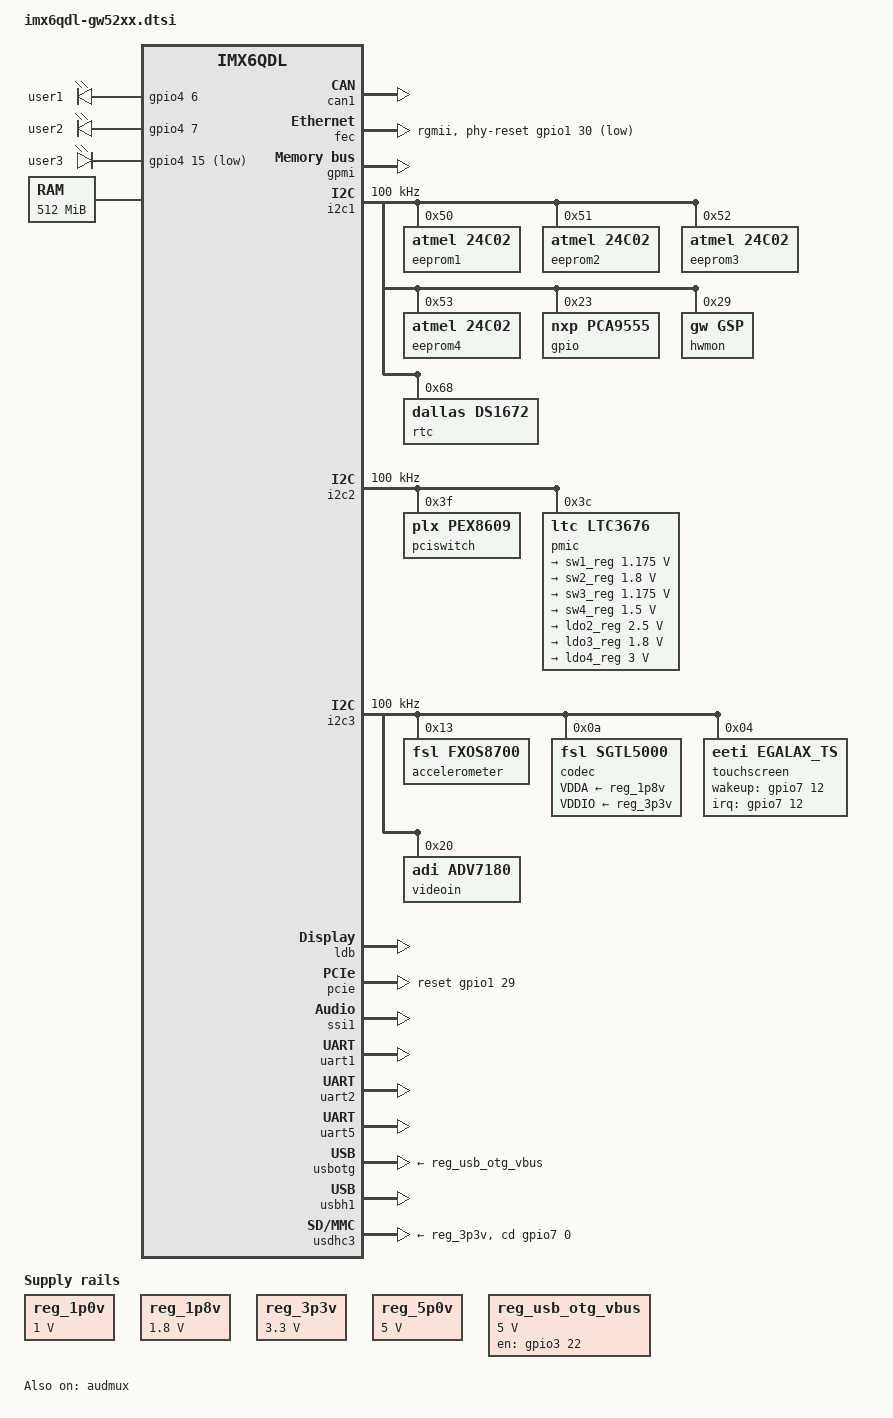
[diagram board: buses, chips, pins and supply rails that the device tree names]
/*
 * Copyright 2013 Gateworks Corporation
 *
 * The code contained herein is licensed under the GNU General Public
 * License. You may obtain a copy of the GNU General Public License
 * Version 2 or later at the following locations:
 *
 * http://www.opensource.org/licenses/gpl-license.html
 * http://www.gnu.org/copyleft/gpl.html
 */

/ {
	/* these are used by bootloader for disabling nodes */
	aliases {
		can0 = &can1;
		ethernet0 = &fec;
		i2c0 = &i2c1;
		i2c1 = &i2c2;
		i2c2 = &i2c3;
		led0 = &led0;
		led1 = &led1;
		led2 = &led2;
		nand = &gpmi;
		ssi0 = &ssi1;
		usb0 = &usbh1;
		usb1 = &usbotg;
		usdhc2 = &usdhc3;
	};

	leds {
		compatible = "gpio-leds";

		led0: user1 {
			label = "user1";
			gpios = <&gpio4 6 0>; /* 102 -> MX6_PANLEDG */
			default-state = "on";
			linux,default-trigger = "heartbeat";
		};

		led1: user2 {
			label = "user2";
			gpios = <&gpio4 7 0>; /* 103 -> MX6_PANLEDR */
			default-state = "off";
		};

		led2: user3 {
			label = "user3";
			gpios = <&gpio4 15 1>; /* 111 - MX6_LOCLED# */
			default-state = "off";
		};
	};

	memory {
		reg = <0x10000000 0x20000000>;
	};

	regulators {
		compatible = "simple-bus";

		reg_1p0v: 1p0v {
			compatible = "regulator-fixed";
			regulator-name = "1P0V";
			regulator-min-microvolt = <1000000>;
			regulator-max-microvolt = <1000000>;
			regulator-always-on;
		};

		/* remove this fixed regulator once ltc3676__sw2 driver available */
		reg_1p8v: 1p8v {
			compatible = "regulator-fixed";
			regulator-name = "1P8V";
			regulator-min-microvolt = <1800000>;
			regulator-max-microvolt = <1800000>;
			regulator-always-on;
		};

		reg_3p3v: 3p3v {
			compatible = "regulator-fixed";
			regulator-name = "3P3V";
			regulator-min-microvolt = <3300000>;
			regulator-max-microvolt = <3300000>;
			regulator-always-on;
		};

		reg_5p0v: 5p0v {
			compatible = "regulator-fixed";
			regulator-name = "5P0V";
			regulator-min-microvolt = <5000000>;
			regulator-max-microvolt = <5000000>;
			regulator-always-on;
		};

		reg_usb_otg_vbus: usb_otg_vbus {
			compatible = "regulator-fixed";
			regulator-name = "usb_otg_vbus";
			regulator-min-microvolt = <5000000>;
			regulator-max-microvolt = <5000000>;
			gpio = <&gpio3 22 0>;
			enable-active-high;
		};
	};

	sound {
		compatible = "fsl,imx6q-sabrelite-sgtl5000",
			     "fsl,imx-audio-sgtl5000";
		model = "imx6q-sabrelite-sgtl5000";
		ssi-controller = <&ssi1>;
		audio-codec = <&codec>;
		audio-routing =
			"MIC_IN", "Mic Jack",
			"Mic Jack", "Mic Bias",
			"Headphone Jack", "HP_OUT";
		mux-int-port = <1>;
		mux-ext-port = <4>;
	};
};

&audmux {
	pinctrl-names = "default";
	pinctrl-0 = <&pinctrl_audmux_1>;
	status = "okay";
};

&can1 {
	pinctrl-names = "default";
	pinctrl-0 = <&pinctrl_flexcan1_1>;
	status = "okay";
};

&fec {
	pinctrl-names = "default";
	pinctrl-0 = <&pinctrl_enet_1>;
	phy-mode = "rgmii";
	phy-reset-gpios = <&gpio1 30 0>;
	status = "okay";
};

&gpmi {
	pinctrl-names = "default";
	pinctrl-0 = <&pinctrl_gpmi_nand_2>;
	status = "okay";
};

&i2c1 {
	clock-frequency = <100000>;
	pinctrl-names = "default";
	pinctrl-0 = <&pinctrl_i2c1_1>;
	status = "okay";

	eeprom1: eeprom@50 {
		compatible = "atmel,24c02";
		reg = <0x50>;
		pagesize = <16>;
	};

	eeprom2: eeprom@51 {
		compatible = "atmel,24c02";
		reg = <0x51>;
		pagesize = <16>;
	};

	eeprom3: eeprom@52 {
		compatible = "atmel,24c02";
		reg = <0x52>;
		pagesize = <16>;
	};

	eeprom4: eeprom@53 {
		compatible = "atmel,24c02";
		reg = <0x53>;
		pagesize = <16>;
	};

	gpio: pca9555@23 {
		compatible = "nxp,pca9555";
		reg = <0x23>;
		gpio-controller;
		#gpio-cells = <2>;
	};

	hwmon: gsc@29 {
		compatible = "gw,gsp";
		reg = <0x29>;
	};

	rtc: ds1672@68 {
		compatible = "dallas,ds1672";
		reg = <0x68>;
	};
};

&i2c2 {
	clock-frequency = <100000>;
	pinctrl-names = "default";
	pinctrl-0 = <&pinctrl_i2c2_2>;
	status = "okay";

	pciswitch: pex8609@3f {
		compatible = "plx,pex8609";
		reg = <0x3f>;
	};

	pmic: ltc3676@3c {
		compatible = "ltc,ltc3676";
		reg = <0x3c>;

		regulators {
			sw1_reg: ltc3676__sw1 {
				regulator-min-microvolt = <1175000>;
				regulator-max-microvolt = <1175000>;
				regulator-boot-on;
				regulator-always-on;
			};

			sw2_reg: ltc3676__sw2 {
				regulator-min-microvolt = <1800000>;
				regulator-max-microvolt = <1800000>;
				regulator-boot-on;
				regulator-always-on;
			};

			sw3_reg: ltc3676__sw3 {
				regulator-min-microvolt = <1175000>;
				regulator-max-microvolt = <1175000>;
				regulator-boot-on;
				regulator-always-on;
			};

			sw4_reg: ltc3676__sw4 {
				regulator-min-microvolt = <1500000>;
				regulator-max-microvolt = <1500000>;
				regulator-boot-on;
				regulator-always-on;
			};

			ldo2_reg: ltc3676__ldo2 {
				regulator-min-microvolt = <2500000>;
				regulator-max-microvolt = <2500000>;
				regulator-boot-on;
				regulator-always-on;
			};

			ldo3_reg: ltc3676__ldo3 {
				regulator-min-microvolt = <1800000>;
				regulator-max-microvolt = <1800000>;
				regulator-boot-on;
				regulator-always-on;
			};

			ldo4_reg: ltc3676__ldo4 {
				regulator-min-microvolt = <3000000>;
				regulator-max-microvolt = <3000000>;
			};
		};
	};
};

&i2c3 {
	clock-frequency = <100000>;
	pinctrl-names = "default";
	pinctrl-0 = <&pinctrl_i2c3_2>;
	status = "okay";

	accelerometer: fxos8700@1e {
		compatible = "fsl,fxos8700";
		reg = <0x13>;
	};

	codec: sgtl5000@0a {
		compatible = "fsl,sgtl5000";
		reg = <0x0a>;
		clocks = <&clks 169>;
		VDDA-supply = <&reg_1p8v>;
		VDDIO-supply = <&reg_3p3v>;
	};

	touchscreen: egalax_ts@04 {
		compatible = "eeti,egalax_ts";
		reg = <0x04>;
		interrupt-parent = <&gpio7>;
		interrupts = <12 2>; /* gpio7_12 active low */
		wakeup-gpios = <&gpio7 12 0>;
	};

	videoin: adv7180@20 {
		compatible = "adi,adv7180";
		reg = <0x20>;
	};
};

&ldb {
	status = "okay";
	lvds-channel@0 {
		crtcs = <&ipu1 0>, <&ipu1 1>;
	};
};

&pcie {
	reset-gpio = <&gpio1 29 0>;
	status = "okay";
};

&ssi1 {
	fsl,mode = "i2s-slave";
	status = "okay";
};

&uart1 {
	pinctrl-names = "default";
	pinctrl-0 = <&pinctrl_uart1_2>;
	status = "okay";
};

&uart2 {
	pinctrl-names = "default";
	pinctrl-0 = <&pinctrl_uart2_3>;
	status = "okay";
};

&uart5 {
	pinctrl-names = "default";
	pinctrl-0 = <&pinctrl_uart5_1>;
	status = "okay";
};

&usbotg {
	vbus-supply = <&reg_usb_otg_vbus>;
	pinctrl-names = "default";
	pinctrl-0 = <&pinctrl_usbotg_1>;
	disable-over-current;
	status = "okay";
};

&usbh1 {
	status = "okay";
};

&usdhc3 {
	pinctrl-names = "default";
	pinctrl-0 = <&pinctrl_usdhc3_2>;
	cd-gpios = <&gpio7 0 0>;
	vmmc-supply = <&reg_3p3v>;
	status = "okay";
};
